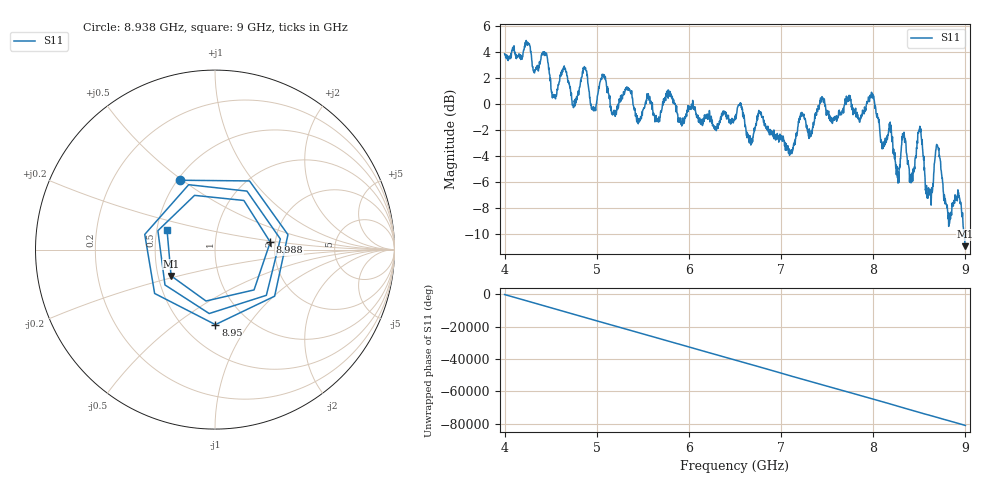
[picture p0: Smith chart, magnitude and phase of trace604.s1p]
! Created with skrf 1.8.0 (http://scikit-rf.org).
# Hz S RI R 50.0
!freq ReS11 ImS11
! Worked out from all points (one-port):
!   1601 points, 4 GHz to 9 GHz, reference 50 ohm
!   lowest |S11| = -10.9 dB at 8.997 GHz (marker M1), VSWR 1.80, Z = 29.2 - j9.31 ohm
!   |S11| at or under -10 dB: 8.984728 GHz to end of sweep
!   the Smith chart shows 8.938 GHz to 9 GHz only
!   S11 on the Smith chart (normalised r, x): 8.938 GHz: 0.51, +0.49; 8.95 GHz: 0.71, -0.71; 8.988 GHz: 1.88, +0.17; 9 GHz: 0.57, +0.14
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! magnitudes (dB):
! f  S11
! 4 GHz  3.9
! 4.438 GHz  3.7
! 4.541 GHz  0.7
! 4.625 GHz  2.5
! 4.753 GHz  -0.2
! 4.869 GHz  2.7
! 4.962 GHz  -0.2
! 5.069 GHz  2.3
! 5.25 GHz  0.2
! 5.875 GHz  -0.8
! 6.5 GHz  -1.0
! 7.125 GHz  -3.6
! 7.222 GHz  -0.9
! 7.75 GHz  0.6
! 7.988 GHz  0.7
! 8.262 GHz  -5.7
! 8.331 GHz  -2.4
! 8.375 GHz  -4.5
! 8.419 GHz  -6.0
! 8.506 GHz  -1.7
! 8.591 GHz  -7.2
! 8.697 GHz  -3.2
! 8.812 GHz  -8.8
! 8.938 GHz  -7.3
! 8.95 GHz  -7.6
! 8.988 GHz  -10.2
! 8.997 GHz  -10.9
! 9 GHz  -10.8
